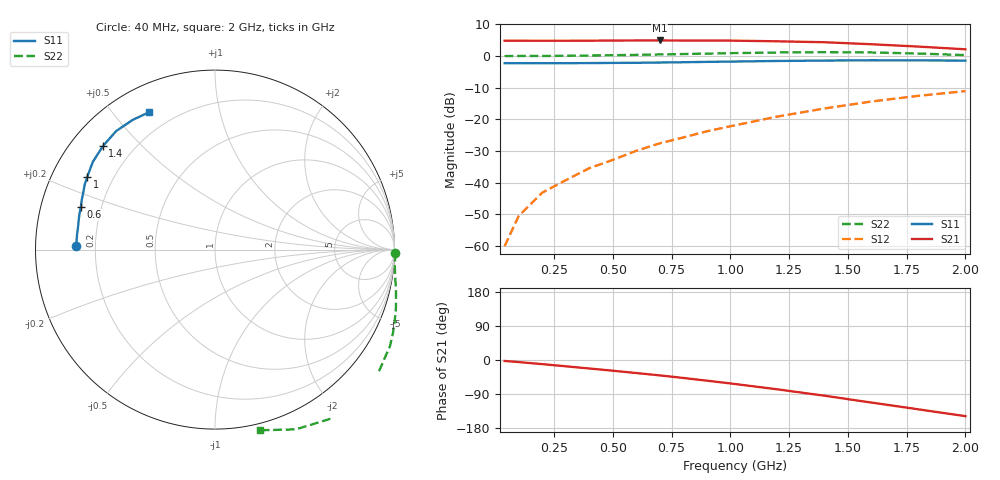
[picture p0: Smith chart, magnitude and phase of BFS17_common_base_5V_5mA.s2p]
! Filename:  BFS17CBB.S2P  Version:  2.0
! Philips part #: BFS17  Date: Jul 1990
! Bias condition: Vce=5V, Ic=5mA
! COMMON BASE
#  MHz  S  MA  R  50
! Freq  S11  S21  S12  S22
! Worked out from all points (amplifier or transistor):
!   16 points, 40 MHz to 2 GHz, reference 50 ohm
!   highest |S21| = 4.9 dB at 700 MHz (marker M1)
!   |S21| within 3 dB of that: start of sweep to end of sweep
!   unconditionally stable (mu >= 1): nowhere
!   at 200 MHz: K = -0.39, MSG = 24.0 dB, |S12| = -43.1 dB
!   at 800 MHz: K = -0.79, MSG = 15.3 dB, |S12| = -25.7 dB
!   at 2 GHz: K = 0.00, MSG = 6.6 dB, |S12| = -11.1 dB
!   S11 on the Smith chart (normalised r, x): 40 MHz: 0.13, +0.01; 600 MHz: 0.12, +0.15; 1 GHz: 0.11, +0.26; 1.4 GHz: 0.09, +0.39; 2 GHz: 0.11, +0.62
40  0.774 178.5  1.751 -2.5  0.001 74.0  1.001 -1.0
100  0.773 177.0  1.749 -5.5  0.003 92.8  1.005 -2.3
200  0.773 174.1  1.746 -10.9  0.007 107.3  1.005 -4.8
300  0.773 171.1  1.747 -16.6  0.011 115.2  1.011 -7.3
400  0.776 168.3  1.751 -22.4  0.017 120.0  1.021 -10.0
500  0.781 165.3  1.759 -28.2  0.023 124.5  1.033 -12.6
600  0.784 162.4  1.765 -34.4  0.032 127.8  1.046 -15.4
700  0.792 159.6  1.766 -40.6  0.042 129.2  1.062 -18.4
800  0.8 156.5  1.761 -47.4  0.052 129.9  1.077 -21.6
900  0.811 153.6  1.757 -54.5  0.065 130.0  1.095 -25.1
1000  0.819 150.5  1.756 -61.8  0.078 129.5  1.113 -28.8
1200  0.838 144.3  1.712 -77.4  0.111 127.7  1.14 -37.1
1400  0.85 137.3  1.656 -94.2  0.149 123.9  1.154 -46.2
1600  0.86 129.8  1.539 -112.3  0.192 119.6  1.141 -55.7
1800  0.856 122.5  1.413 -130.2  0.236 113.7  1.098 -65.8
2000  0.849 115.7  1.281 -148.2  0.28 107.7  1.037 -76.1
